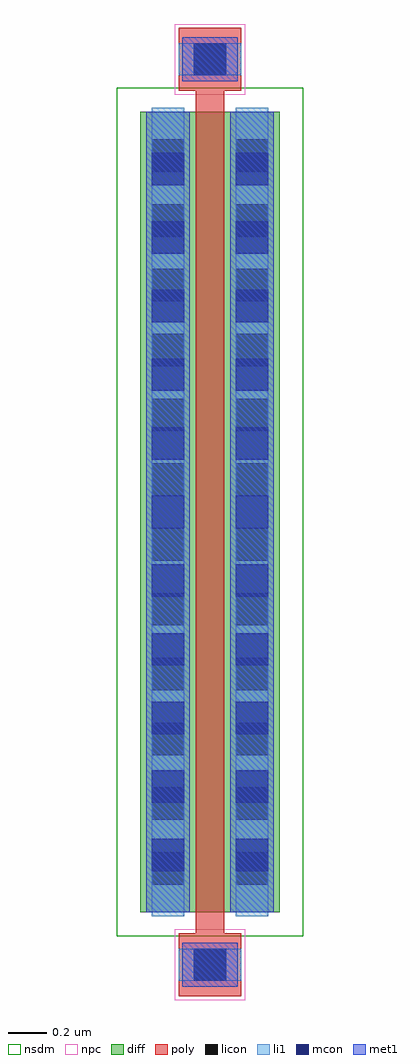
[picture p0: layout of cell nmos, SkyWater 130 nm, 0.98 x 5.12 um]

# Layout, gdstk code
import gdstk
lib = gdstk.Library(unit=1e-6, precision=1e-09)
def R(c, l, rs):  # rectangles x0, y0, x1, y1
    for r in rs: c.add(gdstk.rectangle(r[:2], r[2:], *l))
def A(c, l, x, y, w, h, nx, ny, dx, dy):  # array of equal rectangles
    R(c, l, [(x+i*dx, y+j*dy, x+i*dx+w, y+j*dy+h) for i in range(nx) for j in range(ny)])
diff = (65, 20)
poly = (66, 20)
licon = (66, 44)
li1 = (67, 20)
mcon = (67, 44)
met1 = (68, 20)
nsdm = (93, 44)
npc = (95, 20)

nmos = lib.new_cell('nmos')
R(nmos, diff, [(0,0.44,0.73,4.64)])
R(nmos, poly, [(0.2,0,0.53,0.33), (0.29,0.33,0.44,4.75), (0.2,4.75,0.53,5.08)])
A(nmos, licon, 0.06, 0.585, 0.17, 0.17, 1, 12, 0, 0.34)
A(nmos, licon, 0.5, 0.585, 0.17, 0.17, 1, 12, 0, 0.34)
R(nmos, licon, [(0.28,0.08,0.45,0.25), (0.28,4.83,0.45,5)])
R(nmos, li1, [(0.2,0.08,0.53,0.25), (0.06,0.42,0.23,4.66), (0.5,0.42,0.67,4.66), (0.2,4.83,0.53,5)])
A(nmos, mcon, 0.06, 0.655, 0.17, 0.17, 1, 11, 0, 0.36)
A(nmos, mcon, 0.5, 0.655, 0.17, 0.17, 1, 11, 0, 0.36)
R(nmos, mcon, [(0.28,0.08,0.45,0.25), (0.28,4.83,0.45,5)])
R(nmos, met1, [(0.22,0.05,0.51,0.28), (0.03,0.44,0.26,4.64), (0.47,0.44,0.7,4.64), (0.22,4.8,0.51,5.03)])
R(nmos, nsdm, [(-0.125,0.315,0.855,4.765)])
R(nmos, npc, [(0.18,-0.02,0.55,0.35), (0.18,4.73,0.55,5.1)])

lib.write_gds('nmos.gds')
